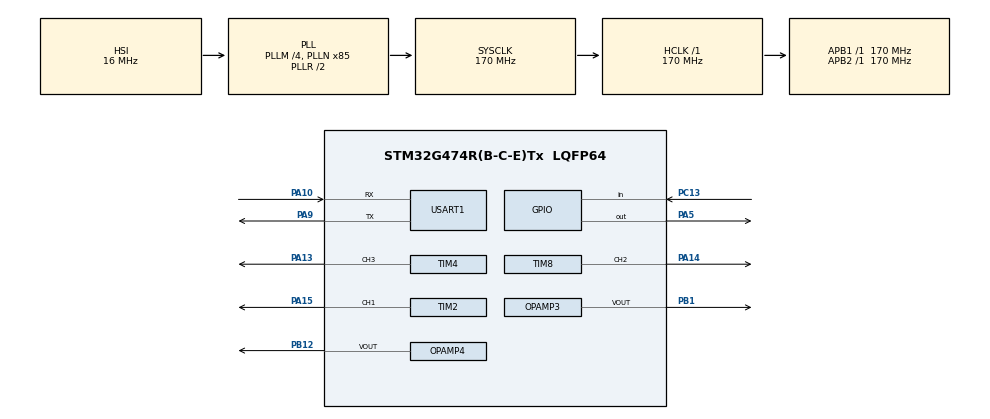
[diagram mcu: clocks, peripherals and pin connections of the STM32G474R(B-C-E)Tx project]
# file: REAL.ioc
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DAC3.DAC_Channel-DAC_OUT2_Int=DAC_CHANNEL_2
DAC3.DAC_Trigger_OUT2-DAC_OUT2_Int=DAC_TRIGGER_T7_TRGO
DAC4.DAC_Trigger_OUT1-DAC_OUT1_Int=DAC_TRIGGER_T6_TRGO
Dma.DAC3_CH2.1.Direction=DMA_MEMORY_TO_PERIPH
Dma.DAC3_CH2.1.EventEnable=DISABLE
Dma.DAC3_CH2.1.Instance=DMA2_Channel1
Dma.DAC3_CH2.1.MemDataAlignment=DMA_MDATAALIGN_HALFWORD
Dma.DAC3_CH2.1.MemInc=DMA_MINC_ENABLE
Dma.DAC3_CH2.1.Mode=DMA_CIRCULAR
Dma.DAC3_CH2.1.PeriphDataAlignment=DMA_PDATAALIGN_WORD
Dma.DAC3_CH2.1.PeriphInc=DMA_PINC_DISABLE
Dma.DAC3_CH2.1.Polarity=HAL_DMAMUX_REQ_GEN_RISING
Dma.DAC3_CH2.1.Priority=DMA_PRIORITY_LOW
Dma.DAC3_CH2.1.RequestNumber=1
Dma.DAC3_CH2.1.SignalID=NONE
Dma.DAC3_CH2.1.SyncEnable=DISABLE
Dma.DAC3_CH2.1.SyncPolarity=HAL_DMAMUX_SYNC_NO_EVENT
Dma.DAC3_CH2.1.SyncRequestNumber=1
Dma.DAC3_CH2.1.SyncSignalID=NONE
Dma.DAC4_CH1.0.Direction=DMA_MEMORY_TO_PERIPH
Dma.DAC4_CH1.0.EventEnable=DISABLE
Dma.DAC4_CH1.0.Instance=DMA1_Channel2
Dma.DAC4_CH1.0.MemDataAlignment=DMA_MDATAALIGN_HALFWORD
Dma.DAC4_CH1.0.MemInc=DMA_MINC_ENABLE
Dma.DAC4_CH1.0.Mode=DMA_CIRCULAR
Dma.DAC4_CH1.0.PeriphDataAlignment=DMA_PDATAALIGN_WORD
Dma.DAC4_CH1.0.PeriphInc=DMA_PINC_DISABLE
Dma.DAC4_CH1.0.Polarity=HAL_DMAMUX_REQ_GEN_RISING
Dma.DAC4_CH1.0.Priority=DMA_PRIORITY_LOW
Dma.DAC4_CH1.0.RequestNumber=1
Dma.DAC4_CH1.0.SignalID=NONE
Dma.DAC4_CH1.0.SyncEnable=DISABLE
Dma.DAC4_CH1.0.SyncPolarity=HAL_DMAMUX_SYNC_NO_EVENT
Dma.DAC4_CH1.0.SyncRequestNumber=1
Dma.DAC4_CH1.0.SyncSignalID=NONE
Dma.Request0=DAC4_CH1
Dma.Request1=DAC3_CH2
Mcu.Family=STM32G4
Mcu.Name=STM32G474R(B-C-E)Tx
Mcu.Package=LQFP64
NVIC.DMA1_Channel2_IRQn=true\:0\:0\:false\:false\:true\:false\:true
NVIC.DMA2_Channel1_IRQn=true\:0\:0\:false\:false\:true\:false\:true
NVIC.PriorityGroup=NVIC_PRIORITYGROUP_4
NVIC.USART1_IRQn=true\:0\:0\:false\:false\:true\:true\:true
OPAMP4.PowerMode=OPAMP_POWERMODE_NORMALSPEED
PA10.Mode=Asynchronous
PA10.Signal=USART1_RX
PA13.Signal=S_TIM4_CH3
PA14.Signal=S_TIM8_CH2
PA15.Signal=S_TIM2_CH1
PA5.GPIO_ModeDefaultOutputPP=GPIO_MODE_OUTPUT_PP
PA5.GPIO_Speed=GPIO_SPEED_FREQ_MEDIUM
PA5.PinState=GPIO_PIN_RESET
PA5.Signal=GPIO_Output
PA9.Mode=Asynchronous
PA9.Signal=USART1_TX
PB1.Mode=Follower-DAC_OUT2-INP
PB1.Signal=OPAMP3_VOUT
PB12.Mode=Follower-DAC_OUT2-INP
PB12.Signal=OPAMP4_VOUT
PC13.GPIO_PuPd=GPIO_PULLDOWN
PC13.Signal=GPIO_Input
PC14-OSC32_IN.Mode=LSE-External-Oscillator
PC14-OSC32_IN.Signal=RCC_OSC32_IN
PC15-OSC32_OUT.Mode=LSE-External-Oscillator
PC15-OSC32_OUT.Signal=RCC_OSC32_OUT
PF0-OSC_IN.Mode=HSE-External-Oscillator
PF0-OSC_IN.Signal=RCC_OSC_IN
PF1-OSC_OUT.Mode=HSE-External-Oscillator
PF1-OSC_OUT.Signal=RCC_OSC_OUT
ProjectManager.HeapSize=0x200
ProjectManager.StackSize=0x400
ProjectManager.TargetToolchain=MDK-ARM V5.32
RCC.ADC12Freq_Value=170000000
RCC.ADC345Freq_Value=170000000
RCC.AHBFreq_Value=170000000
RCC.APB1Freq_Value=170000000
RCC.APB1TimFreq_Value=170000000
RCC.APB2Freq_Value=170000000
RCC.APB2TimFreq_Value=170000000
RCC.CortexFreq_Value=170000000
RCC.EXTERNAL_CLOCK_VALUE=12288000
RCC.HCLKFreq_Value=170000000
RCC.HSE_VALUE=25000000
RCC.HSI48_VALUE=48000000
RCC.HSI_VALUE=16000000
RCC.PLLM=RCC_PLLM_DIV4
RCC.PLLN=85
RCC.SYSCLKFreq_VALUE=170000000
RCC.SYSCLKSource=RCC_SYSCLKSOURCE_PLLCLK
RCC.USBFreq_Value=170000000
RCC.VCOOutputFreq_Value=340000000
SH.S_TIM2_CH1.0=TIM2_CH1,PWM Generation1 CH1
SH.S_TIM4_CH3.0=TIM4_CH3,PWM Generation3 CH3
SH.S_TIM8_CH2.0=TIM8_CH2,PWM Generation2 CH2
TIM2.AutoReloadPreload=TIM_AUTORELOAD_PRELOAD_ENABLE
TIM2.Channel-PWM\ Generation1\ CH1=TIM_CHANNEL_1
TIM2.PeriodNoDither=2000-1
TIM2.Prescaler=17-1
TIM2.PulseNoDither_1=1000
TIM3.AutoReloadPreload=TIM_AUTORELOAD_PRELOAD_ENABLE
TIM3.PeriodNoDither=100-1
TIM3.TIM_MasterOutputTrigger=TIM_TRGO_UPDATE
TIM4.AutoReloadPreload=TIM_AUTORELOAD_PRELOAD_ENABLE
TIM4.Channel-PWM\ Generation3\ CH3=TIM_CHANNEL_3
TIM4.PeriodNoDither=10000-1
TIM4.Prescaler=17-1
TIM4.PulseNoDither_3=5000
TIM6.AutoReloadPreload=TIM_AUTORELOAD_PRELOAD_ENABLE
TIM6.PeriodNoDither=17-1
TIM6.TIM_MasterOutputTrigger=TIM_TRGO_UPDATE
TIM7.AutoReloadPreload=TIM_AUTORELOAD_PRELOAD_ENABLE
TIM7.PeriodNoDither=17-1
TIM7.TIM_MasterOutputTrigger=TIM_TRGO_UPDATE
TIM8.AutoReloadPreload=TIM_AUTORELOAD_PRELOAD_ENABLE
TIM8.Channel-PWM\ Generation2\ CH2=TIM_CHANNEL_2
TIM8.PeriodNoDither=3334-1
TIM8.Prescaler=17-1
TIM8.PulseNoDither_2=1667
USART1.VirtualMode-Asynchronous=VM_ASYNC
VP_DAC3_VS_DACI2.Mode=DAC_OUT2_Int
VP_DAC4_VS_DACI1.Mode=DAC_OUT1_Int
VP_SYS_VS_DBSignals.Mode=DisableDeadBatterySignals
VP_TIM2_VS_ClockSourceINT.Mode=Internal
VP_TIM3_VS_ClockSourceINT.Mode=Internal
VP_TIM4_VS_ClockSourceINT.Mode=Internal
VP_TIM6_VS_ClockSourceINT.Mode=Enable_Timer
VP_TIM7_VS_ClockSourceINT.Mode=Enable_Timer
VP_TIM8_VS_ClockSourceINT.Mode=Internal
board=custom

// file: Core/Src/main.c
/* USER CODE BEGIN Header */
/**
  ******************************************************************************
  * @file           : main.c
  * @brief          : Main program body
  ******************************************************************************
  * @attention
  *
  * Copyright (c) 2022 STMicroelectronics.
  * All rights reserved.
  *
  * This software is licensed under terms that can be found in the LICENSE file
  * in the root directory of this software component.
  * If no LICENSE file comes with this software, it is provided AS-IS.
  *
  ******************************************************************************
  */
/* USER CODE END Header */
#include "main.h"
#include "dac.h"
#include "dma.h"
#include "opamp.h"
#include "tim.h"
#include "usart.h"
#include "gpio.h"

/* USER CODE BEGIN Includes */
#include <math.h>
#include "key.h"
#include <string.h>

#define PI 3.1415926
/* USER CODE END Includes */

/* USER CODE BEGIN PM */

void shen_sin(u32 data);
void shen_tra(u32 data);
void shen_sqr(u32 data);
void shen_sin_1(u32 data);

/* USER CODE END PM */

void SystemClock_Config(void);

/* USER CODE BEGIN 0 */

u32 FRE=1000;

u8 key=0;

u32 AMP=0;
float AM_data=0.0;

u32 AMP_data=50;
uint16_t sin_data_fin[10000];
uint16_t sin_data_fin_1[10000];

uint16_t ADC_Data[480];
u8 flag_get1;

/* USER CODE END 0 */

int main(void)
{

  /* MCU Configuration--------------------------------------------------------*/

  /* Reset of all peripherals, Initializes the Flash interface and the Systick. */
  HAL_Init();

  /* Configure the system clock */
  SystemClock_Config();

  /* Initialize all configured peripherals */
  MX_GPIO_Init();
  MX_DMA_Init();
  MX_TIM2_Init();
  MX_USART1_UART_Init();
  MX_TIM3_Init();
  MX_TIM4_Init();
  MX_TIM8_Init();
  MX_DAC4_Init();
  MX_OPAMP4_Init();
  MX_TIM6_Init();
  MX_DAC3_Init();
  MX_OPAMP3_Init();
  MX_TIM7_Init();
  /* USER CODE BEGIN 2 */

	HAL_TIM_Base_Start(&htim2);
	HAL_TIM_Base_Start(&htim4);
	HAL_TIM_Base_Start(&htim8);
	HAL_TIM_PWM_Start(&htim2,TIM_CHANNEL_1);
	HAL_TIM_PWM_Start(&htim4,TIM_CHANNEL_3);
	HAL_TIM_PWM_Start(&htim8,TIM_CHANNEL_2);

	HAL_TIM_Base_Start(&htim6);

	HAL_TIM_Base_Start(&htim7);
	HAL_OPAMP_Start(&hopamp3);
	HAL_OPAMP_Start(&hopamp4);
	AMP_data=10000000/FRE;

	shen_sin(AMP_data);
	HAL_Delay(100);
	HAL_DAC_Start_DMA(&hdac4,DAC_CHANNEL_1,(uint32_t*)sin_data_fin,AMP_data,DAC_ALIGN_12B_R);

	FRE=5000;
	AMP_data=10000000/FRE;
	shen_sin_1(AMP_data);
	HAL_Delay(100);
	HAL_DAC_Start_DMA(&hdac3,DAC_CHANNEL_2,(uint32_t*)sin_data_fin_1,AMP_data,DAC_ALIGN_12B_R);

  /* USER CODE END 2 */

  /* Infinite loop */
  while (1)
  {

    /* USER CODE BEGIN 3 */
		key=KEY_Scan();
//		if(key==1)
//			HAL_GPIO_TogglePin(GPIOA,GPIO_PIN_5);
//			HAL_DAC_Stop_DMA(&hdac4,DAC_CHANNEL_1);
//			FRE=5000;
//			AMP_data=10000000/FRE;
//			shen_sin_1(AMP_data);
//			HAL_DAC_Start_DMA(&hdac4,DAC_CHANNEL_1,(uint32_t*)sin_data_fin,AMP_data,DAC_ALIGN_12B_R);

//		if(flag_get1==1){
//			flag_get1=0;
//			if(USART_RX_BUF[0]=='S'){
//				HAL_ADC_Start_DMA(&hadc1,(u32*)ADC_Data,480);
//
//			}
//		}

  }
  /* USER CODE END 3 */
}

void SystemClock_Config(void)
{
  RCC_OscInitTypeDef RCC_OscInitStruct = {0};
  RCC_ClkInitTypeDef RCC_ClkInitStruct = {0};

  /** Configure the main internal regulator output voltage
  */
  HAL_PWREx_ControlVoltageScaling(PWR_REGULATOR_VOLTAGE_SCALE1_BOOST);
  /** Initializes the RCC Oscillators according to the specified parameters
  * in the RCC_OscInitTypeDef structure.
  */
  RCC_OscInitStruct.OscillatorType = RCC_OSCILLATORTYPE_HSI;
  RCC_OscInitStruct.HSIState = RCC_HSI_ON;
  RCC_OscInitStruct.HSICalibrationValue = RCC_HSICALIBRATION_DEFAULT;
  RCC_OscInitStruct.PLL.PLLState = RCC_PLL_ON;
  RCC_OscInitStruct.PLL.PLLSource = RCC_PLLSOURCE_HSI;
  RCC_OscInitStruct.PLL.PLLM = RCC_PLLM_DIV4;
  RCC_OscInitStruct.PLL.PLLN = 85;
  RCC_OscInitStruct.PLL.PLLP = RCC_PLLP_DIV2;
  RCC_OscInitStruct.PLL.PLLQ = RCC_PLLQ_DIV2;
  RCC_OscInitStruct.PLL.PLLR = RCC_PLLR_DIV2;
  if (HAL_RCC_OscConfig(&RCC_OscInitStruct) != HAL_OK)
  {
    Error_Handler();
  }
  /** Initializes the CPU, AHB and APB buses clocks
  */
  RCC_ClkInitStruct.ClockType = RCC_CLOCKTYPE_HCLK|RCC_CLOCKTYPE_SYSCLK
                              |RCC_CLOCKTYPE_PCLK1|RCC_CLOCKTYPE_PCLK2;
  RCC_ClkInitStruct.SYSCLKSource = RCC_SYSCLKSOURCE_PLLCLK;
  RCC_ClkInitStruct.AHBCLKDivider = RCC_SYSCLK_DIV1;
  RCC_ClkInitStruct.APB1CLKDivider = RCC_HCLK_DIV1;
  RCC_ClkInitStruct.APB2CLKDivider = RCC_HCLK_DIV1;

  if (HAL_RCC_ClockConfig(&RCC_ClkInitStruct, FLASH_LATENCY_4) != HAL_OK)
  {
    Error_Handler();
  }
}

/* USER CODE BEGIN 4 */

void shen_sin(u32 data){
	int mode,i0,j,k;
	int n,y,z=1;
	double x;

		for(i0=0;i0<data;i0++){
			x=(i0)*(360.0/data)*PI/180;
			sin_data_fin[i0]=(uint16_t)(sin(x)*1998*1.0+2048);
		}
}
void shen_sin_1(u32 data){
		int mode,i0,j,k;
	int n,y,z=1;
	double x;

		for(i0=0;i0<data;i0++){
			x=(i0)*(360.0/data)*PI/180;
			sin_data_fin_1[i0]=sin(x)*1998*1.25/3.3+1998*1.25/3.3+50;
		}
}

void shen_tra(u32 data){
		int mode,i,j,k;
	float pi;
	int n,y,z=1;
	double x;
	float vpp;

	for(i=0;i<=(data/2);i++){
			sin_data_fin[i]=1.0/data*(i)*3995*3.3/3.3*2+(3.3-3.3)/2/3.3*3995+100;
		}
		y=data/2;
		for(i=data/2+1;i<data;i++){
			sin_data_fin[i]=sin_data_fin[y-z];
			z=z+1;
		}
}
void shen_sqr(u32 data){
	int i;
	for(i=0;i<data/2;i++){
		sin_data_fin[i]=100;
	}
	for(i=data/2;i<data;i++){
		sin_data_fin[i]=4095;
	}
}

void uspp(uint16_t usa,char words[]){
	int len;
	len=strlen((const char*)words);

	if(usa==1){
		HAL_UART_Transmit(&huart1,(u8*)words,len,0xffff);
	}
}

u8 us1_i;
u8 flag_usart1_data=0;
void HAL_UART_RxCpltCallback(UART_HandleTypeDef *huart){
	if(huart->Instance==USART1){
		if(aRxBuffer[0]==0x0D){
			flag_usart1_data=0;
			flag_get1=1;
		}
		if(flag_usart1_data==1){
			USART_RX_BUF[us1_i]=aRxBuffer[0];
			us1_i++;
		}
		if(aRxBuffer[0]==0x0F){
			flag_usart1_data=1;
			us1_i=0;
		}
	}

}
/* USER CODE END 4 */

void Error_Handler(void)
{
  __disable_irq();
  while (1)
  {
  }
}
